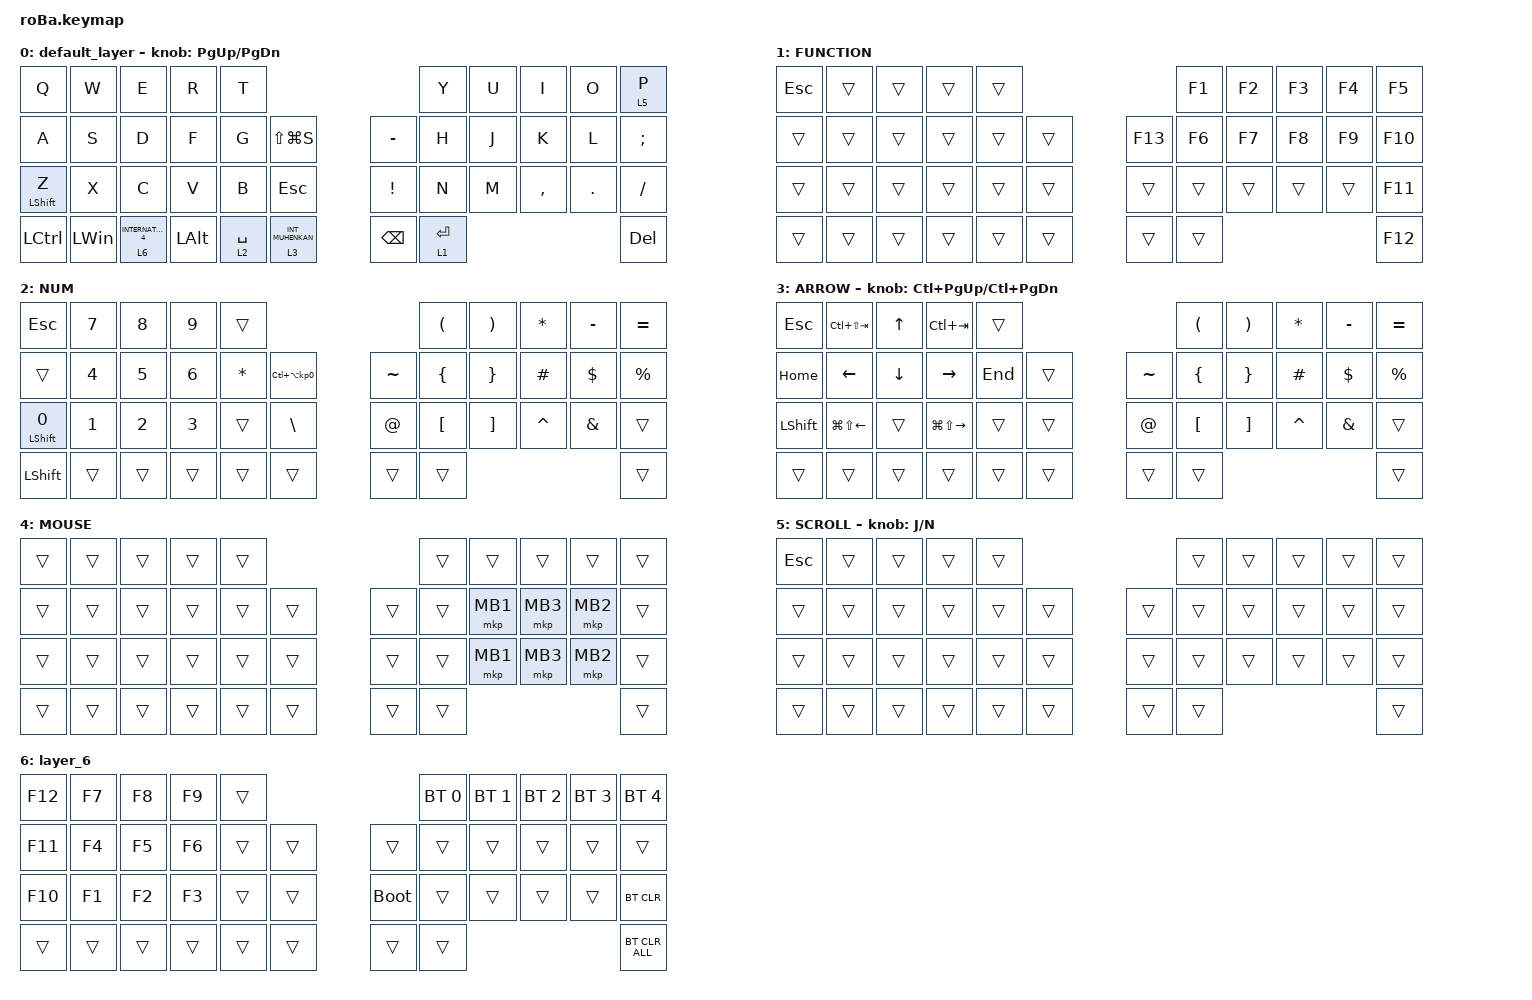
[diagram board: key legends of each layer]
#include <behaviors.dtsi>
#include <dt-bindings/zmk/bt.h>
#include <dt-bindings/zmk/keys.h>
#include <dt-bindings/zmk/pointing.h>

&mt {
    flavor = "balanced";
    quick-tap-ms = <0>;
};

/ {
    combos {
        compatible = "zmk,combos";

        tab {
            bindings = <&kp TAB>;
            key-positions = <11 12>;
        };

        double_quotation {
            bindings = <&kp DOUBLE_QUOTES>;
            key-positions = <20 21>;
        };

        eq {
            bindings = <&kp EQUAL>;
            key-positions = <24 25>;
        };

        nihongo {
            bindings = <&kp LC(SPACE)>;
            key-positions = <10 13>;
        };

        quotation {
            bindings = <&kp SINGLE_QUOTE>;
            key-positions = <19 20>;
        };

        Tab2 {
            bindings = <&kp TAB>;
            key-positions = <10 11>;
        };
    };

    macros {
        to_layer_0: to_layer_0 {
            compatible = "zmk,behavior-macro-one-param";
            #binding-cells = <1>;
            bindings = <&to 0 &macro_param_1to1 &kp MACRO_PLACEHOLDER>;
            label = "TO_LAYER_0";
        };
    };

    behaviors {
        lt_to_layer_0: lt_to_layer_0 {
            compatible = "zmk,behavior-hold-tap";
            label = "LAYER_TAP_TO_0";
            bindings = <&mo>, <&to_layer_0>;

            #binding-cells = <2>;
            tapping-term-ms = <200>;
        };
    };

    keymap {
        compatible = "zmk,keymap";

        default_layer {
            bindings = <
&kp Q             &kp W         &kp E                             &kp R         &kp T                                                            &kp Y        &kp U  &kp I      &kp O    &lt 5 P
&kp A             &kp S         &kp D                             &kp F         &kp G        &kp LS(LG(S))                      &kp MINUS        &kp H        &kp J  &kp K      &kp L    &kp SEMICOLON
&mt LEFT_SHIFT Z  &kp X         &kp C                             &kp V         &kp B        &kp ESCAPE                         &kp EXCLAMATION  &kp N        &kp M  &kp COMMA  &kp DOT  &kp SLASH
&kp LCTRL         &kp LEFT_WIN  &lt_to_layer_0 6 INTERNATIONAL_4  &kp LEFT_ALT  &lt 2 SPACE  &lt_to_layer_0 3 INT_MUHENKAN      &kp BACKSPACE    &lt 1 ENTER                             &kp DEL
            >;

            sensor-bindings = <&inc_dec_kp PG_UP PAGE_DOWN>;
        };

        FUNCTION {
            bindings = <
&kp ESC  &trans  &trans  &trans  &trans                       &kp F1  &kp F2  &kp F3  &kp F4  &kp F5
&trans   &trans  &trans  &trans  &trans  &trans      &kp F13  &kp F6  &kp F7  &kp F8  &kp F9  &kp F10
&trans   &trans  &trans  &trans  &trans  &trans      &trans   &trans  &trans  &trans  &trans  &kp F11
&trans   &trans  &trans  &trans  &trans  &trans      &trans   &trans                          &kp F12
            >;
        };

        NUM {
            bindings = <
&kp ESCAPE         &kp N7        &kp N8        &kp N9        &trans                                                  &kp LEFT_PARENTHESIS  &kp RIGHT_PARENTHESIS  &kp ASTERISK  &kp MINUS      &kp EQUAL
&trans             &kp NUMBER_4  &kp N5        &kp NUMBER_6  &kp ASTERISK  &kp LC(LA(KP_NUMBER_0))      &kp TILDE    &kp LEFT_BRACE        &kp RIGHT_BRACE        &kp HASH      &kp DOLLAR     &kp PERCENT
&mt LEFT_SHIFT N0  &kp N1        &kp NUMBER_2  &kp N3        &trans        &kp BACKSLASH                &kp AT_SIGN  &kp LEFT_BRACKET      &kp RIGHT_BRACKET      &kp CARET     &kp AMPERSAND  &trans
&kp LEFT_SHIFT     &trans        &trans        &trans        &trans        &trans                       &trans       &trans                                                                    &trans
            >;
        };

        ARROW {
            bindings = <
&kp ESCAPE      &kp LC(LS(TAB))         &kp UP_ARROW    &kp LC(TAB)              &trans                            &kp LEFT_PARENTHESIS  &kp RIGHT_PARENTHESIS  &kp ASTERISK  &kp MINUS      &kp EQUAL
&kp HOME        &kp LEFT_ARROW          &kp DOWN_ARROW  &kp RIGHT_ARROW          &kp END  &trans      &kp TILDE    &kp LEFT_BRACE        &kp RIGHT_BRACE        &kp HASH      &kp DOLLAR     &kp PERCENT
&kp LEFT_SHIFT  &kp LG(LS(LEFT_ARROW))  &trans          &kp LG(LS(RIGHT_ARROW))  &trans   &trans      &kp AT_SIGN  &kp LEFT_BRACKET      &kp RIGHT_BRACKET      &kp CARET     &kp AMPERSAND  &trans
&trans          &trans                  &trans          &trans                   &trans   &trans      &trans       &trans                                                                    &trans
            >;

            sensor-bindings = <&inc_dec_kp LC(PAGE_UP) LC(PAGE_DOWN)>;
        };

        MOUSE {
            bindings = <
&trans  &trans  &trans  &trans  &trans                      &trans  &trans    &trans    &trans    &trans
&trans  &trans  &trans  &trans  &trans  &trans      &trans  &trans  &mkp MB1  &mkp MB3  &mkp MB2  &trans
&trans  &trans  &trans  &trans  &trans  &trans      &trans  &trans  &mkp MB1  &mkp MB3  &mkp MB2  &trans
&trans  &trans  &trans  &trans  &trans  &trans      &trans  &trans                                &trans
            >;
        };

        SCROLL {
            bindings = <
&kp ESCAPE  &trans  &trans  &trans  &trans                      &trans  &trans  &trans  &trans  &trans
&trans      &trans  &trans  &trans  &trans  &trans      &trans  &trans  &trans  &trans  &trans  &trans
&trans      &trans  &trans  &trans  &trans  &trans      &trans  &trans  &trans  &trans  &trans  &trans
&trans      &trans  &trans  &trans  &trans  &trans      &trans  &trans                          &trans
            >;

            sensor-bindings = <&inc_dec_kp J N>;
        };

        layer_6 {
            bindings = <
&kp F12  &kp F7  &kp F8  &kp F9  &trans                           &bt BT_SEL 0  &bt BT_SEL 1  &bt BT_SEL 2  &bt BT_SEL 3  &bt BT_SEL 4
&kp F11  &kp F4  &kp F5  &kp F6  &trans  &trans      &trans       &trans        &trans        &trans        &trans        &trans
&kp F10  &kp F1  &kp F2  &kp F3  &trans  &trans      &bootloader  &trans        &trans        &trans        &trans        &bt BT_CLR
&trans   &trans  &trans  &trans  &trans  &trans      &trans       &trans                                                  &bt BT_CLR_ALL
            >;
        };
    };
};
